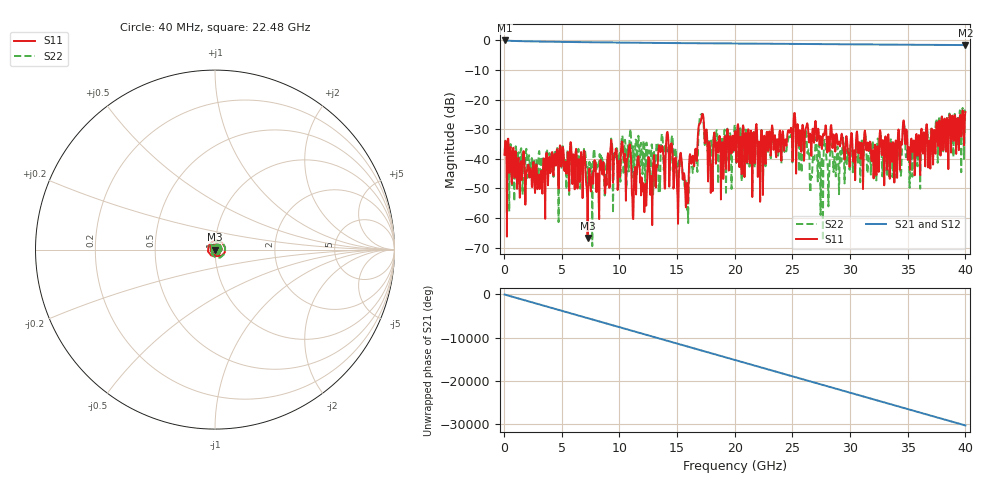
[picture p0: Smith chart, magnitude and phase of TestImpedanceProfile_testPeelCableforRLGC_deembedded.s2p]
# MHz MA S R 50.0
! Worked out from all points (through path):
!   1000 points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, 40 MHz to 40 GHz, reference 50 ohm
!   highest |S21| = -0.03 dB at 40 MHz (marker M1); lowest = -1.6 dB at 40 GHz (marker M2)
!   lowest |S11| = -66.7 dB at 7.24 GHz (marker M3), VSWR 1.00, Z = 50 - j0.0454 ohm
!   |S11| at or under -10 dB: start of sweep to end of sweep
!   |S22| runs from -69.5 to -22.8 dB; largest |S21 - S12| = 0.0033
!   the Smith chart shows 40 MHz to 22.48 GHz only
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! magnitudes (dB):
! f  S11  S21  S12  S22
! 40 MHz  -38.7  0.0  0.0  -38.8
! 3.12 GHz  -49.1  -0.4  -0.4  -42.6
! 4.96 GHz  -42.7  -0.5  -0.5  -43.5
! 6.72 GHz  -39.4  -0.6  -0.6  -39.4
! 7.24 GHz  -66.7  -0.6  -0.6  -49.2
! 10.28 GHz  -35.2  -0.8  -0.8  -32.8
! 12.16 GHz  -58.0  -0.8  -0.8  -35.8
! 13.36 GHz  -38.1  -0.9  -0.9  -42.2
! 14.68 GHz  -50.0  -0.9  -0.9  -38.0
! 15.84 GHz  -48.1  -1.0  -1.0  -51.8
! 17.08 GHz  -26.8  -1.0  -1.0  -25.1
! 17.88 GHz  -40.6  -1.0  -1.0  -37.1
! 20.04 GHz  -30.6  -1.1  -1.1  -28.9
! 22.6 GHz  -33.7  -1.1  -1.1  -35.2
! 25.28 GHz  -30.5  -1.2  -1.2  -30.0
! 26.68 GHz  -34.2  -1.3  -1.3  -46.3
! 27.16 GHz  -32.9  -1.3  -1.3  -42.8
! 27.52 GHz  -35.6  -1.3  -1.3  -40.7
! 31.2 GHz  -34.0  -1.4  -1.4  -35.9
! 33.36 GHz  -34.2  -1.4  -1.4  -39.2
! 35.2 GHz  -43.7  -1.5  -1.5  -46.3
! 40 GHz  -24.2  -1.6  -1.6  -23.4
